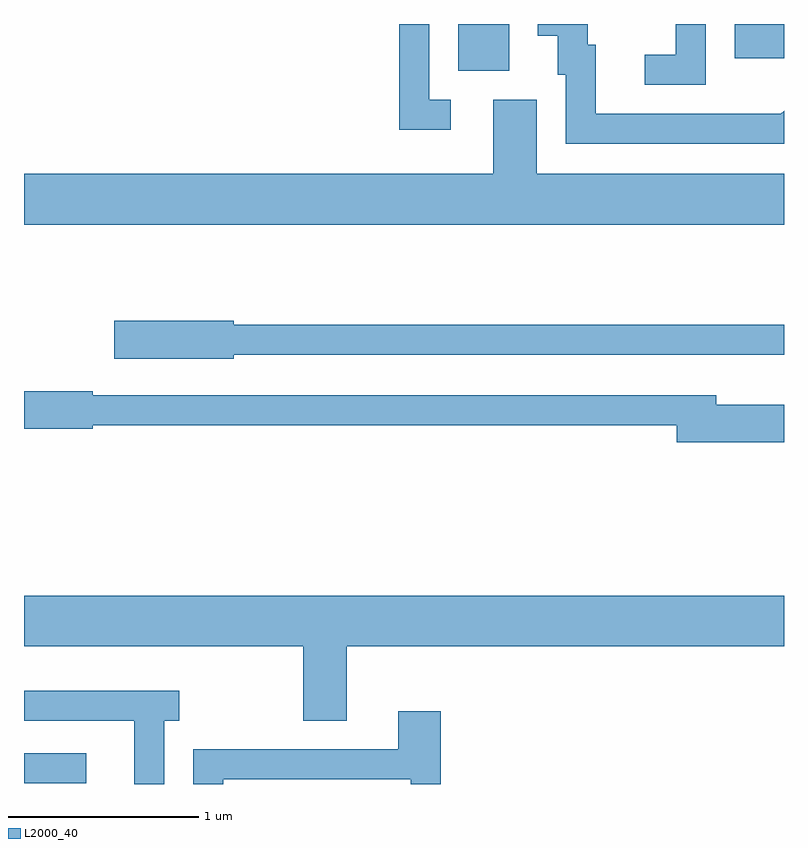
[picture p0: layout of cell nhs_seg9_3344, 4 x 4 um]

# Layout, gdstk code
import gdstk
lib = gdstk.Library(unit=1e-6, precision=1e-09)
def R(c, l, rs):  # rectangles x0, y0, x1, y1
    for r in rs: c.add(gdstk.rectangle(r[:2], r[2:], *l))
def P(c, l, *ps):  # polygons
    for p in ps: c.add(gdstk.Polygon(p, *l))
L2000_40 = (2000, 40)

nhs_seg9_3344 = lib.new_cell('nhs_seg9_3344')
R(nhs_seg9_3344, L2000_40, [(283.611,1984.436,283.938,1984.594), (285.896,1988.186,286.164,1988.432), (287.351,1988.251,287.611,1988.432)])
P(nhs_seg9_3344, L2000_40, [(287.199,1988.432),(287.041,1988.432),(287.041,1988.269),(286.878,1988.269),(286.878,1988.111),(287.199,1988.111)],
  [(285.858,1988.034),(285.744,1988.034),(285.744,1988.432),(285.586,1988.432),(285.586,1987.876),(285.858,1987.876)],
  [(287.611,1987.976),(287.594,1987.959),(286.619,1987.959),(286.619,1988.324),(286.579,1988.324),(286.579,1988.432),(286.316,1988.432),(286.316,1988.371),(286.421,1988.371),(286.421,1988.166),(286.461,1988.166),(286.461,1987.801),(287.611,1987.801)],
  [(287.611,1987.644),(286.309,1987.644),(286.309,1988.034),(286.081,1988.034),(286.081,1987.644),(283.611,1987.644),(283.611,1987.376),(287.611,1987.376)],
  [(284.714,1986.691),(287.611,1986.691),(287.611,1986.849),(284.714,1986.849),(284.714,1986.869),(284.086,1986.869),(284.086,1986.671),(284.714,1986.671)],
  [(287.611,1986.429),(287.254,1986.429),(287.254,1986.479),(283.974,1986.479),(283.974,1986.499),(283.611,1986.499),(283.611,1986.301),(283.974,1986.301),(283.974,1986.321),(287.046,1986.321),(287.046,1986.231),(287.611,1986.231)],
  [(285.309,1985.156),(287.611,1985.156),(287.611,1985.424),(283.611,1985.424),(283.611,1985.156),(285.081,1985.156),(285.081,1984.766),(285.309,1984.766)],
  [(284.349,1984.766),(284.428,1984.766),(284.428,1984.924),(283.611,1984.924),(283.611,1984.766),(284.191,1984.766),(284.191,1984.432),(284.349,1984.432)],
  [(284.659,1984.456),(285.646,1984.456),(285.646,1984.432),(285.804,1984.432),(285.804,1984.814),(285.581,1984.814),(285.581,1984.614),(284.501,1984.614),(284.501,1984.432),(284.659,1984.432)])

lib.write_gds('nhs_seg9_3344.gds')
